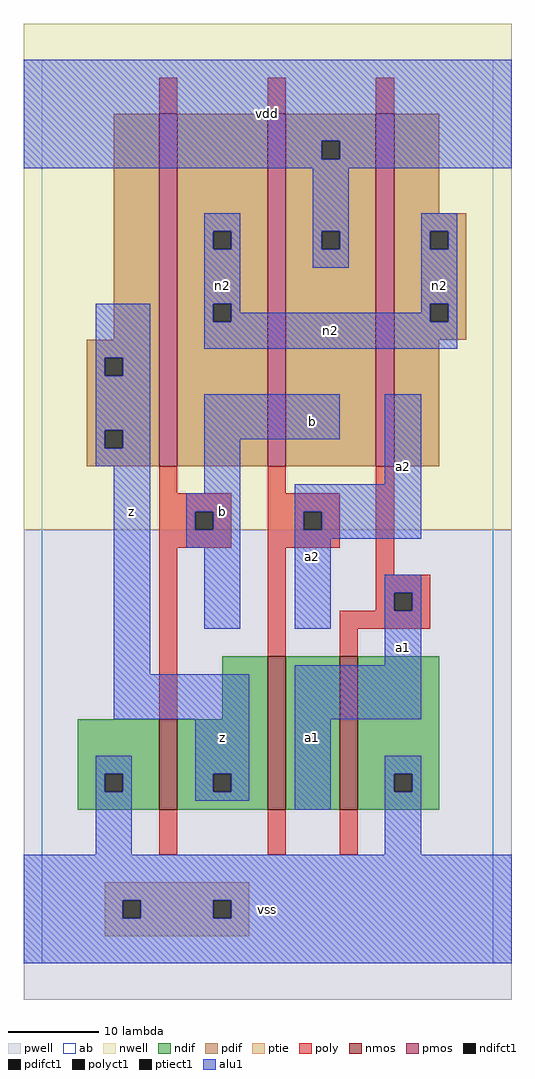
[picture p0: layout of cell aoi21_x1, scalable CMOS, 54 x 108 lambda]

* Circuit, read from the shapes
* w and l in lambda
.subckt aoi21_x1 a1 a2 b n2 vdd vss z
M1 z b vss vss nfet w=10 l=2
M2 n1 a2 z vss nfet w=17 l=2
M3 vss a1 n1 vss nfet w=17 l=2
M4 n2 b z n3 pfet w=39 l=2
M5 vdd a2 n2 n3 pfet w=39 l=2
M6 n2 a1 vdd n3 pfet w=39 l=2
.ends

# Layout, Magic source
magic
tech scmos
<< ab >>
rect 0 0 50 100
<< nwell >>
rect -2 48 52 104
<< pwell >>
rect -2 -4 52 48
<< poly >>
rect 13 94 15 98
rect 25 94 27 98
rect 37 94 39 98
rect 13 52 15 55
rect 25 52 27 55
rect 13 50 21 52
rect 13 48 17 50
rect 19 48 21 50
rect 13 46 21 48
rect 25 50 33 52
rect 25 48 29 50
rect 31 48 33 50
rect 25 46 33 48
rect 13 27 15 46
rect 25 34 27 46
rect 37 43 39 55
rect 37 41 43 43
rect 37 39 39 41
rect 41 39 43 41
rect 33 37 43 39
rect 33 34 35 37
rect 13 12 15 17
rect 25 12 27 17
rect 33 12 35 17
<< ndif >>
rect 20 27 25 34
rect 4 21 13 27
rect 4 19 7 21
rect 9 19 13 21
rect 4 17 13 19
rect 15 21 25 27
rect 15 19 19 21
rect 21 19 25 21
rect 15 17 25 19
rect 27 17 33 34
rect 35 21 44 34
rect 35 19 39 21
rect 41 19 44 21
rect 35 17 44 19
<< pdif >>
rect 8 69 13 94
rect 5 67 13 69
rect 5 65 7 67
rect 9 65 13 67
rect 5 59 13 65
rect 5 57 7 59
rect 9 57 13 59
rect 5 55 13 57
rect 15 81 25 94
rect 15 79 19 81
rect 21 79 25 81
rect 15 73 25 79
rect 15 71 19 73
rect 21 71 25 73
rect 15 55 25 71
rect 27 91 37 94
rect 27 89 31 91
rect 33 89 37 91
rect 27 81 37 89
rect 27 79 31 81
rect 33 79 37 81
rect 27 55 37 79
rect 39 83 44 94
rect 39 81 47 83
rect 39 79 43 81
rect 45 79 47 81
rect 39 73 47 79
rect 39 71 43 73
rect 45 71 47 73
rect 39 69 47 71
rect 39 55 44 69
<< alu1 >>
rect -2 91 52 100
rect -2 89 31 91
rect 33 89 52 91
rect -2 88 52 89
rect 18 81 22 83
rect 18 79 19 81
rect 21 79 22 81
rect 18 73 22 79
rect 30 81 34 88
rect 30 79 31 81
rect 33 79 34 81
rect 30 77 34 79
rect 42 81 46 83
rect 42 79 43 81
rect 45 79 46 81
rect 6 67 12 73
rect 18 71 19 73
rect 21 72 22 73
rect 42 73 46 79
rect 42 72 43 73
rect 21 71 43 72
rect 45 71 46 73
rect 18 68 46 71
rect 6 65 7 67
rect 9 65 12 67
rect 6 59 12 65
rect 6 57 7 59
rect 9 57 12 59
rect 6 55 12 57
rect 8 32 12 55
rect 18 58 33 63
rect 18 52 22 58
rect 38 53 42 63
rect 16 50 22 52
rect 16 48 17 50
rect 19 48 22 50
rect 16 46 22 48
rect 18 37 22 46
rect 28 50 42 53
rect 28 48 29 50
rect 31 48 42 50
rect 28 47 42 48
rect 28 37 32 47
rect 38 41 42 43
rect 38 39 39 41
rect 41 39 42 41
rect 38 33 42 39
rect 8 27 23 32
rect 6 21 10 23
rect 6 19 7 21
rect 9 19 10 21
rect 6 12 10 19
rect 17 21 23 27
rect 17 19 19 21
rect 21 19 23 21
rect 17 18 23 19
rect 28 27 42 33
rect 28 17 32 27
rect 38 21 42 23
rect 38 19 39 21
rect 41 19 42 21
rect 38 12 42 19
rect -2 7 52 12
rect -2 5 9 7
rect 11 5 19 7
rect 21 5 52 7
rect -2 0 52 5
<< ptie >>
rect 7 7 23 9
rect 7 5 9 7
rect 11 5 19 7
rect 21 5 23 7
rect 7 3 23 5
<< nmos >>
rect 13 17 15 27
rect 25 17 27 34
rect 33 17 35 34
<< pmos >>
rect 13 55 15 94
rect 25 55 27 94
rect 37 55 39 94
<< polyct1 >>
rect 17 48 19 50
rect 29 48 31 50
rect 39 39 41 41
<< ndifct1 >>
rect 7 19 9 21
rect 19 19 21 21
rect 39 19 41 21
<< ptiect1 >>
rect 9 5 11 7
rect 19 5 21 7
<< pdifct1 >>
rect 7 65 9 67
rect 7 57 9 59
rect 19 79 21 81
rect 19 71 21 73
rect 31 89 33 91
rect 31 79 33 81
rect 43 79 45 81
rect 43 71 45 73
<< labels >>
rlabel alu1 20 25 20 25 6 z
rlabel alu1 20 50 20 50 6 b
rlabel alu1 10 50 10 50 6 z
rlabel alu1 20 75 20 75 6 n2
rlabel alu1 25 6 25 6 6 vss
rlabel alu1 30 25 30 25 6 a1
rlabel alu1 30 45 30 45 6 a2
rlabel alu1 30 60 30 60 6 b
rlabel alu1 25 94 25 94 6 vdd
rlabel alu1 40 35 40 35 6 a1
rlabel alu1 40 55 40 55 6 a2
rlabel alu1 32 70 32 70 6 n2
rlabel alu1 44 75 44 75 6 n2
<< end >>
